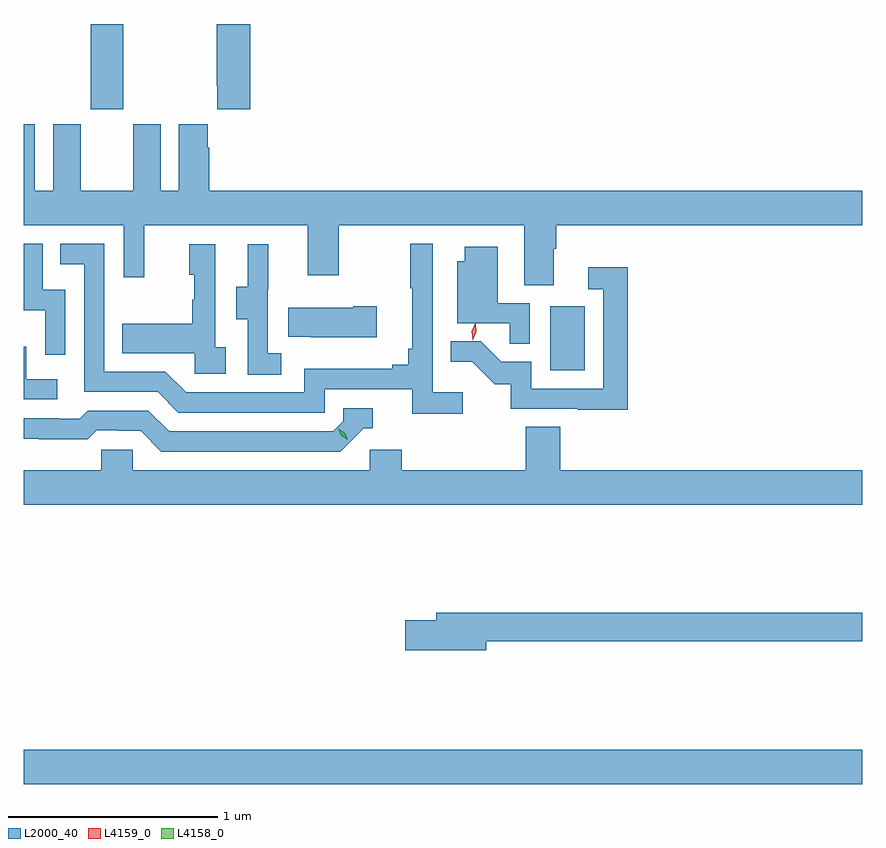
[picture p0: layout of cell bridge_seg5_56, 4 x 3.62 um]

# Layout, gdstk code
import gdstk
lib = gdstk.Library(unit=1e-6, precision=1e-09)
def R(c, l, rs):  # rectangles x0, y0, x1, y1
    for r in rs: c.add(gdstk.rectangle(r[:2], r[2:], *l))
def P(c, l, *ps):  # polygons
    for p in ps: c.add(gdstk.Polygon(p, *l))
L2000_40 = (2000, 40)
L4158_0 = (4158, 0)
L4159_0 = (4159, 0)

bridge_seg5_56 = lib.new_cell('bridge_seg5_56')
R(bridge_seg5_56, L2000_40, [(826.631,899.384,830.631,899.548), (829.142,901.356,829.306,901.663), (826.951,902.601,827.106,903.008)])
P(bridge_seg5_56, L2000_40, [(827.711,903.008),(827.551,903.008),(827.551,902.713),(827.555,902.713),(827.555,902.601),(827.711,902.601)],
  [(829.159,901.936),(829.172,901.936),(829.172,902.048),(830.631,902.048),(830.631,902.212),(827.516,902.212),(827.516,902.417),(827.509,902.417),(827.509,902.53),(827.372,902.53),(827.372,902.212),(827.284,902.212),(827.284,902.53),(827.153,902.53),(827.153,902.212),(826.903,902.212),(826.903,902.53),(826.772,902.53),(826.772,902.212),(826.684,902.212),(826.684,902.53),(826.631,902.53),(826.631,902.048),(827.109,902.048),(827.109,901.8),(827.207,901.8),(827.207,902.048),(827.987,902.048),(827.987,901.809),(828.135,901.809),(828.135,902.048),(829.019,902.048),(829.019,901.762),(829.159,901.762)],
  [(828.724,901.252),(828.582,901.252),(828.582,901.96),(828.474,901.96),(828.474,901.747),(828.485,901.747),(828.485,901.459),(828.466,901.459),(828.466,901.382),(828.389,901.382),(828.389,901.363),(827.97,901.363),(827.97,901.251),(827.406,901.251),(827.307,901.35),(827.016,901.35),(827.016,901.959),(826.807,901.959),(826.807,901.863),(826.92,901.863),(826.92,901.254),(827.27,901.254),(827.369,901.155),(828.066,901.155),(828.066,901.266),(828.485,901.266),(828.485,901.15),(828.724,901.15)],
  [(826.83,901.74),(826.722,901.74),(826.722,901.959),(826.631,901.959),(826.631,901.643),(826.734,901.643),(826.734,901.431),(826.83,901.431)],
  [(827.86,901.439),(827.796,901.439),(827.796,901.743),(827.798,901.743),(827.798,901.957),(827.699,901.957),(827.699,901.755),(827.645,901.755),(827.645,901.6),(827.7,901.6),(827.7,901.336),(827.86,901.336)],
  [(827.596,901.466),(827.544,901.466),(827.544,901.957),(827.42,901.957),(827.42,901.812),(827.446,901.812),(827.446,901.694),(827.436,901.694),(827.436,901.579),(827.101,901.579),(827.101,901.439),(827.448,901.439),(827.448,901.341),(827.596,901.341)],
  [(829.044,901.677),(828.892,901.677),(828.892,901.945),(828.734,901.945),(828.734,901.876),(828.698,901.876),(828.698,901.581),(828.949,901.581),(828.949,901.483),(829.044,901.483)],
  [(829.511,901.849),(829.323,901.849),(829.323,901.743),(829.395,901.743),(829.395,901.269),(829.053,901.269),(829.053,901.398),(828.908,901.398),(828.811,901.495),(828.667,901.495),(828.667,901.397),(828.771,901.397),(828.878,901.29),(828.955,901.29),(828.955,901.173),(829.273,901.173),(829.273,901.168),(829.511,901.168)],
  [(828.316,901.662),(828.203,901.662),(828.203,901.654),(827.893,901.654),(827.893,901.517),(828.001,901.517),(828.001,901.514),(828.316,901.514)],
  [(826.792,901.314),(826.644,901.314),(826.644,901.468),(826.631,901.468),(826.631,901.218),(826.792,901.218)],
  [(828.252,901.08),(828.295,901.08),(828.295,901.176),(828.156,901.176),(828.156,901.113),(828.108,901.065),(827.325,901.065),(827.226,901.164),(826.937,901.164),(826.898,901.125),(826.799,901.125),(826.799,901.128),(826.631,901.128),(826.631,901.031),(826.704,901.031),(826.704,901.029),(826.937,901.029),(826.979,901.071),(827.082,901.071),(827.082,901.068),(827.189,901.068),(827.288,900.969),(828.141,900.969)],
  [(830.631,900.88),(829.19,900.88),(829.19,901.088),(829.025,901.088),(829.025,900.88),(828.434,900.88),(828.434,900.978),(828.282,900.978),(828.282,900.88),(827.151,900.88),(827.151,900.978),(827.001,900.978),(827.001,900.88),(826.631,900.88),(826.631,900.716),(830.631,900.716)],
  [(828.838,900.064),(830.631,900.064),(830.631,900.2),(828.599,900.2),(828.599,900.164),(828.45,900.164),(828.45,900.022),(828.838,900.022)])
P(bridge_seg5_56, L4158_0, [(828.177,901.025),(828.146,901.045),(828.131,901.078),(828.131,901.078),(828.131,901.078),(828.162,901.058),(828.177,901.025),(828.177,901.025)])
P(bridge_seg5_56, L4159_0, [(828.772,901.501),(828.772,901.501),(828.769,901.543),(828.785,901.581),(828.785,901.581),(828.786,901.581),(828.789,901.54),(828.772,901.501)])

lib.write_gds('bridge_seg5_56.gds')
